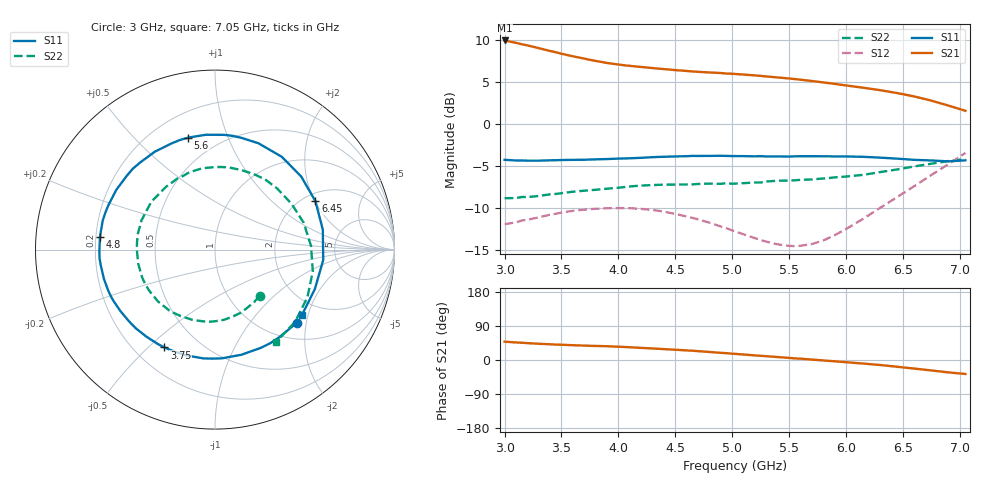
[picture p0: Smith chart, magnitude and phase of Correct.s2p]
! Created on 14/12/2020 11:52:40
! CINVESTAV
! S-Parameter data
! freq S11 S21 S12 S22
# Hz S RI R 50
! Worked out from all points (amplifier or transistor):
!   48 points, 3 GHz to 7.05 GHz, reference 50 ohm
!   highest |S21| = 9.9 dB at 3 GHz (marker M1)
!   |S21| within 3 dB of that: start of sweep to 4.082 GHz
!   unconditionally stable (mu >= 1): 5.256 GHz to 5.952 GHz
!   at 3.6 GHz: K = 0.51, MSG = 9.2 dB, |S12| = -10.4 dB
!   at 4.8 GHz: K = 0.73, MSG = 8.9 dB, |S12| = -11.8 dB
!   at 7.05 GHz: K = 0.39, MSG = 2.5 dB, |S12| = -3.5 dB
!   S11 on the Smith chart (normalised r, x): 3 GHz: 1.35, -1.76; 3.75 GHz: 0.32, -0.56; 4.8 GHz: 0.22, +0.05; 5.6 GHz: 0.34, +0.73; 6.45 GHz: 2.30, +2.02; 7.05 GHz: 1.57, -1.83
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3e9  0.4554 -0.4077  2.086 2.349  -0.2097 -0.141  0.2506 -0.2601
3.15e9  0.3092 -0.5207  2.09 2.13  -0.2508 -0.0877  0.2157 -0.2969
3.3e9  0.1472 -0.5858  2.075 1.921  -0.2765 -0.0233  0.1718 -0.3302
3.5e9  -0.0648 -0.6061  1.998 1.692  -0.2868 0.0749  0.0956 -0.3746
3.7e9  -0.2445 -0.5609  1.93 1.509  -0.256 0.172  -0.00607 -0.4001
3.75e9  -0.2818 -0.5449  1.911 1.466  -0.2435 0.193  -0.0324 -0.4018
3.9e9  -0.382 -0.4852  1.858 1.368  -0.1893 0.2514  -0.1263 -0.3914
4.1e9  -0.4842 -0.3936  1.846 1.229  -0.099 0.2987  -0.2556 -0.3386
4.35e9  -0.5806 -0.2592  1.859 1.053  0.028 0.3026  -0.3879 -0.1934
4.6e9  -0.6361 -0.089  1.87 0.8827  0.1344 0.2467  -0.4358 0.00312
4.8e9  -0.6409 0.0725  1.888 0.733  0.1864 0.1785  -0.4091 0.1644
5.1e9  -0.5502 0.3325  1.905 0.4929  0.2054 0.0792  -0.2727 0.35
5.4e9  -0.3366 0.5447  1.874 0.2558  0.1908 0.0188  -0.0706 0.4532
5.6e9  -0.15 0.6239  1.831 0.1129  0.1881 -0.000438  0.0752 0.4581
5.7e9  -0.05 0.6399  1.801 0.0339  0.1923 -0.00854  0.1462 0.4434
6e9  0.2429 0.5921  1.686 -0.1713  0.2308 -0.0504  0.3463 0.3406
6.15e9  0.3722 0.5169  1.622 -0.2664  0.2545 -0.0956  0.4264 0.2554
6.45e9  0.5593 0.2703  1.454 -0.4674  0.2676 -0.2506  0.535 0.0206
6.6e9  0.6007 0.1113  1.345 -0.5609  0.2322 -0.3564  0.5449 -0.1205
6.75e9  0.603 -0.0578  1.221 -0.6367  0.1531 -0.4719  0.5149 -0.2657
6.9e9  0.5557 -0.222  1.083 -0.694  0.0186 -0.5746  0.4463 -0.4025
7.05e9  0.4831 -0.3669  0.957 -0.7194  -0.1705 -0.6501  0.3392 -0.5164
